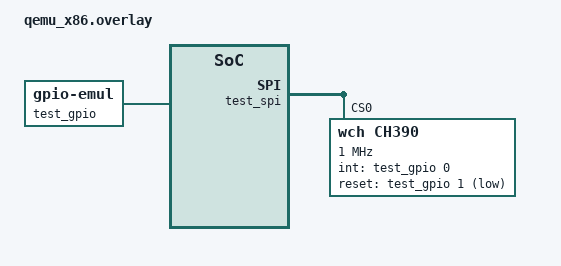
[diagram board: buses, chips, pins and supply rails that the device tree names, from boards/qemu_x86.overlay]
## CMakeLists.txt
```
# Copyright (c) 2026 FoBE Studio
# SPDX-License-Identifier: Apache-2.0

cmake_minimum_required(VERSION 3.20.0)

find_package(Zephyr REQUIRED HINTS $ENV{ZEPHYR_BASE})
project(ch390_test)

target_sources(app PRIVATE src/main.c)
```

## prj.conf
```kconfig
CONFIG_ZTEST=y
CONFIG_ASSERT=y

CONFIG_LOG=y
CONFIG_LOG_MODE_MINIMAL=y

CONFIG_EMUL=y
CONFIG_SPI=y
CONFIG_SPI_EMUL=y
CONFIG_GPIO=y
CONFIG_GPIO_EMUL=y

CONFIG_NETWORKING=y
CONFIG_NET_TEST=y
CONFIG_NET_L2_ETHERNET=y
CONFIG_ETH_CH390=y
CONFIG_ETH_CH390_RX_THREAD_STACK_SIZE=2048
CONFIG_ETH_CH390_FLOW_CONTROL=n

CONFIG_NET_PKT_TX_COUNT=4
CONFIG_NET_PKT_RX_COUNT=4
CONFIG_NET_BUF_TX_COUNT=32
CONFIG_NET_BUF_RX_COUNT=16
CONFIG_NET_BUF_DATA_SIZE=256
CONFIG_NET_TC_TX_COUNT=1
CONFIG_NET_TC_RX_COUNT=1
```

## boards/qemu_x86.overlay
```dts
/*
 * Copyright (c) 2026 FoBE Studio
 *
 * SPDX-License-Identifier: Apache-2.0
 */

#include <zephyr/dt-bindings/gpio/gpio.h>

/ {
	test_gpio: gpio {
		compatible = "zephyr,gpio-emul";
		ngpios = <2>;
		rising-edge;
		status = "okay";
		#gpio-cells = <2>;
		gpio-controller;
	};

	test_spi: spi@100 {
		compatible = "zephyr,spi-emul-controller";
		reg = <0x100 4>;
		#address-cells = <1>;
		#size-cells = <0>;
		status = "okay";

		ch390: ethernet@0 {
			compatible = "wch,ch390";
			reg = <0>;
			spi-max-frequency = <1000000>;
			int-gpios = <&test_gpio 0 GPIO_ACTIVE_HIGH>;
			reset-gpios = <&test_gpio 1 GPIO_ACTIVE_LOW>;
			local-mac-address = [02 00 00 00 00 01];
			status = "okay";
		};
	};
};
```

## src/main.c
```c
/*
 * Copyright (c) 2026 FoBE Studio
 *
 * SPDX-License-Identifier: Apache-2.0
 */

#include <errno.h>
#include <string.h>

#include <zephyr/device.h>
#include <zephyr/drivers/emul.h>
#include <zephyr/drivers/spi_emul.h>
#include <zephyr/net/ethernet.h>
#include <zephyr/net/net_if.h>
#include <zephyr/net/net_pkt.h>
#include <zephyr/sys/byteorder.h>
#include <zephyr/ztest.h>

#define CH_NODE DT_NODELABEL(ch390)

#define CH390_NCR 0x00
#define CH390_TCR 0x02
#define CH390_RCR 0x05
#define CH390_EPCR 0x0B
#define CH390_EPAR 0x0C
#define CH390_EPDRL 0x0D
#define CH390_PAR 0x10
#define CH390_GPR 0x1F
#define CH390_VIDL 0x28
#define CH390_PIDL 0x2A
#define CH390_MRCMDX 0x70
#define CH390_MWCMD 0x78
#define CH390_TXPLL 0x7C
#define CH390_IMR 0x7F

#define CH390_NCR_RST BIT(0)
#define CH390_EPCR_EPOS BIT(3)
#define CH390_EPCR_ERPRR BIT(2)
#define CH390_EPCR_ERPRW BIT(1)
#define CH390_IMR_PAR BIT(7)
#define CH390_IMR_LNKCHGI BIT(5)
#define CH390_IMR_PRI BIT(0)
#define CH390_RUNTIME_IMR (CH390_IMR_PAR | CH390_IMR_LNKCHGI | CH390_IMR_PRI)
#define CH390_PHY_ANAR 0x04

struct ch390_emul_data {
	uint8_t regs[0x80];
	uint16_t phy_regs[32];
	size_t tx_mem_len;
	uint16_t tx_len;
	uint8_t tx_request_count;
	uint8_t imr_writes[8];
	uint8_t imr_write_count;
};

static struct ch390_emul_data ch390_emul_data;
static const struct device *const ch390_dev = DEVICE_DT_GET(CH_NODE);
static const uint8_t expected_mac[] = {0x02, 0x00, 0x00, 0x00, 0x00, 0x01};

static void ch390_emul_reset(struct ch390_emul_data *data)
{
	memset(data, 0, sizeof(*data));
	sys_put_le16(0x1c00, &data->regs[CH390_VIDL]);
	sys_put_le16(0x9151, &data->regs[CH390_PIDL]);
	data->phy_regs[CH390_PHY_ANAR] = 0x0001;
}

static void ch390_emul_write_reg(struct ch390_emul_data *data, uint8_t reg, uint8_t value)
{
	if (reg == CH390_NCR && (value & CH390_NCR_RST) != 0U) {
		data->regs[reg] = value & (uint8_t)~CH390_NCR_RST;
		return;
	}

	if (reg == CH390_EPCR) {
		uint8_t phy_reg = data->regs[CH390_EPAR] & 0x1fU;

		if ((value & CH390_EPCR_EPOS) != 0U && (value & CH390_EPCR_ERPRR) != 0U) {
			sys_put_le16(data->phy_regs[phy_reg], &data->regs[CH390_EPDRL]);
		} else if ((value & CH390_EPCR_EPOS) != 0U &&
			   (value & CH390_EPCR_ERPRW) != 0U) {
			data->phy_regs[phy_reg] = sys_get_le16(&data->regs[CH390_EPDRL]);
		}
		data->regs[reg] = 0;
		return;
	}

	if (reg == CH390_TCR && (value & BIT(0)) != 0U) {
		data->tx_request_count++;
		data->regs[reg] = 0;
		return;
	}

	if (reg == CH390_IMR && data->imr_write_count < ARRAY_SIZE(data->imr_writes)) {
		data->imr_writes[data->imr_write_count++] = value;
	}

	data->regs[reg] = value;
}

static int ch390_emul_write(const struct spi_buf_set *tx_bufs, struct ch390_emul_data *data)
{
	const uint8_t *cmd_buf;
	const uint8_t *payload;
	uint8_t reg;
	size_t len;

	if (tx_bufs == NULL || tx_bufs->count != 2U ||
	    tx_bufs->buffers[0].len != 1U || tx_bufs->buffers[1].buf == NULL) {
		return -EIO;
	}

	cmd_buf = tx_bufs->buffers[0].buf;
	payload = tx_bufs->buffers[1].buf;
	reg = cmd_buf[0] & 0x7fU;
	len = tx_bufs->buffers[1].len;

	if (reg == CH390_MWCMD) {
		data->tx_mem_len = len;
		return 0;
	}

	for (size_t i = 0; i < len; i++) {
		ch390_emul_write_reg(data, (uint8_t)(reg + i), payload[i]);
	}

	data->tx_len = sys_get_le16(&data->regs[CH390_TXPLL]);
	return 0;
}

static int ch390_emul_read(const struct spi_buf_set *tx_bufs,
			   const struct spi_buf_set *rx_bufs,
			   struct ch390_emul_data *data)
{
	const uint8_t *cmd_buf;
	uint8_t *payload;
	uint8_t reg;
	size_t len;

	if (tx_bufs == NULL || rx_bufs == NULL ||
	    tx_bufs->count != 1U || tx_bufs->buffers[0].len != 1U ||
	    rx_bufs->count != 2U || rx_bufs->buffers[1].buf == NULL) {
		return -EIO;
	}

	cmd_buf = tx_bufs->buffers[0].buf;
	payload = rx_bufs->buffers[1].buf;
	reg = cmd_buf[0] & 0x7fU;
	len = rx_bufs->buffers[1].len;

	for (size_t i = 0; i < len; i++) {
		payload[i] = data->regs[reg + i];
	}

	if (reg == CH390_MRCMDX && len > 0U) {
		payload[0] = 0;
	}

	return 0;
}

static int ch390_emul_io(const struct emul *target,
			 const struct spi_config *config,
			 const struct spi_buf_set *tx_bufs,
			 const struct spi_buf_set *rx_bufs)
{
	struct ch390_emul_data *data = target->data;

	ARG_UNUSED(config);

	if (rx_bufs != NULL) {
		return ch390_emul_read(tx_bufs, rx_bufs, data);
	}

	return ch390_emul_write(tx_bufs, data);
}

static int ch390_emul_init(const struct emul *target, const struct device *parent)
{
	ARG_UNUSED(parent);

	ch390_emul_reset(target->data);
	return 0;
}

static const struct spi_emul_api ch390_emul_api = {
	.io = ch390_emul_io,
};

EMUL_DT_DEFINE(CH_NODE, ch390_emul_init, &ch390_emul_data, NULL, &ch390_emul_api, NULL);

static struct net_pkt *make_pkt(struct net_if *iface, size_t len)
{
	static uint8_t bytes[NET_ETH_MAX_FRAME_SIZE + 1U];
	struct net_pkt *pkt;

	for (size_t i = 0; i < len; i++) {
		bytes[i] = (uint8_t)i;
	}
	memset(bytes, 0xff, sizeof(struct net_eth_addr));
	bytes[6] = 0x02;

	pkt = net_pkt_alloc_with_buffer(iface, len, NET_AF_UNSPEC, 0, K_NO_WAIT);
	zassert_not_null(pkt);
	zassert_ok(net_pkt_write(pkt, bytes, len));
	net_pkt_cursor_init(pkt);
	return pkt;
}

static void *ch390_setup(void)
{
	zassert_true(device_is_ready(ch390_dev));
	zassert_mem_equal(&ch390_emul_data.regs[CH390_PAR], expected_mac, sizeof(expected_mac));

	return NULL;
}

static void ch390_before(void *fixture)
{
	ARG_UNUSED(fixture);

	ch390_emul_data.tx_mem_len = 0;
	ch390_emul_data.tx_len = 0;
	ch390_emul_data.tx_request_count = 0;
	ch390_emul_data.imr_write_count = 0;
}

ZTEST(ch390, test_start_stop_masks_device_interrupts)
{
	const struct ethernet_api *api = ch390_dev->api;

	zassert_ok(api->start(ch390_dev));
	zassert_equal(ch390_emul_data.regs[CH390_IMR], CH390_RUNTIME_IMR);
	zassert_true(ch390_emul_data.imr_write_count >= 2U);
	zassert_equal(ch390_emul_data.imr_writes[0], 0);
	zassert_equal(ch390_emul_data.imr_writes[ch390_emul_data.imr_write_count - 1U],
		      CH390_RUNTIME_IMR);

	zassert_ok(api->stop(ch390_dev));
	zassert_equal(ch390_emul_data.regs[CH390_IMR], 0);
	zassert_equal(ch390_emul_data.regs[CH390_RCR], 0);
	zassert_equal(ch390_emul_data.regs[CH390_GPR], 1);
}

ZTEST(ch390, test_tx_oversized_is_rejected_before_spi_write)
{
	const struct ethernet_api *api = ch390_dev->api;
	struct net_pkt *pkt;

	pkt = make_pkt(NULL, NET_ETH_MAX_FRAME_SIZE + 1U);

	zassert_equal(api->send(ch390_dev, pkt), -EMSGSIZE);
	zassert_equal(ch390_emul_data.tx_mem_len, 0);
	zassert_equal(ch390_emul_data.tx_len, 0);
	net_pkt_unref(pkt);
}

ZTEST(ch390, test_tx_writes_checked_length)
{
	const struct ethernet_api *api = ch390_dev->api;
	struct net_pkt *pkt;
	size_t len = sizeof(struct net_eth_hdr) + 32U;

	zassert_ok(api->start(ch390_dev));
	pkt = make_pkt(NULL, len);

	zassert_ok(api->send(ch390_dev, pkt));
	zassert_equal(ch390_emul_data.tx_mem_len, len);
	zassert_equal(ch390_emul_data.tx_len, len);
	zassert_equal(ch390_emul_data.tx_request_count, 1);
	net_pkt_unref(pkt);
}

ZTEST_SUITE(ch390, NULL, ch390_setup, ch390_before, NULL, NULL);
```
